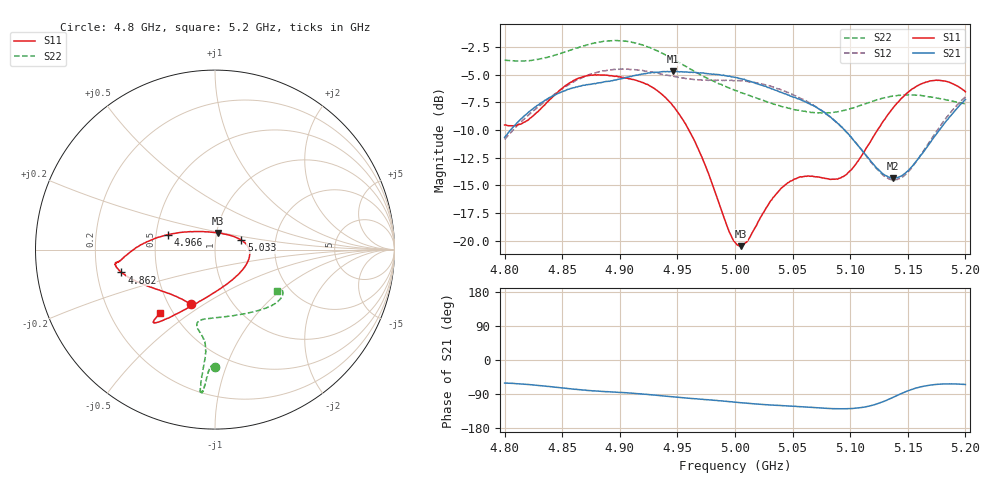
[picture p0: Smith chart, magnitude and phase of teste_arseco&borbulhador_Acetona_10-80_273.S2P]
! Network Analyzer HP8722D
! Hewlett-Packard
! Data name: Linha & Wilkinson
! Saver's name: Rodrigo Anjos
! Comments: Teste da utilização de aquisição
! continua pelo VNA HP8722D
! Time and date: 17/4/2025 16:38
!  Frequency  S11  S21  S12  S22
# HZ  S  MA R 50
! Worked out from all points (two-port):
!   401 points, 4.8 GHz to 5.2 GHz, reference 50 ohm
!   highest |S21| = -4.69 dB at 4.946 GHz (marker M1); lowest = -14.4 dB at 5.137 GHz (marker M2)
!   |S21| within 3 dB of the highest: 4.83 GHz to 5.066 GHz (235.8 MHz wide, 4.77 % of centre); 5.195739 GHz to end of sweep
!   lowest |S11| = -20.5 dB at 5.005 GHz (marker M3), VSWR 1.21, Z = 50.6 + j9.52 ohm
!   |S11| at or under -10 dB: 4.96 GHz to 5.124 GHz (163.7 MHz wide, 3.25 % of centre)
!   |S22| runs from -8.5 to -1.9 dB; largest |S21 - S12| = 0.87
!   S11 on the Smith chart (normalised r, x): 4.8 GHz: 0.64, -0.44; 4.862 GHz: 0.31, -0.11; 4.966 GHz: 0.58, +0.10; 5.033 GHz: 1.34, +0.15; 5.2 GHz: 0.42, -0.39
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4.8e9  0.3335 -113.8  0.2933 -60.8  0.2868 -175.1  0.6563 -90.2
4.819e9  0.3478 -133.9  0.3732 -64.3  0.3629 -173.8  0.6512 -91.8
4.862e9  0.5365 -166.3  0.4955 -77.3  0.5317 -177.2  0.7428 -94.0
4.867e9  0.549 -168.2  0.5018 -79.0  0.5439 -178.2  0.7557 -94.3
4.9e9  0.5503 -172.6  0.5387 -85.4  0.5957 175.3  0.8017 -95.6
4.934e9  0.4708 -178.5  0.578 -93.7  0.5706 171.5  0.7143 -95.9
4.946e9  0.4075 175.9  0.583 -97.1  0.5536 171.8  0.6637 -95.7
4.966e9  0.2746 162.3  0.5755 -102.2  0.5346 173.6  0.5777 -95.1
5e9  0.09829 99.0  0.5471 -111.3  0.5307 176.0  0.4777 -99.3
5.005e9  0.09437 81.1  0.5401 -112.6  0.5282 176.0  0.4668 -100.5
5.012e9  0.1018 58.0  0.5269 -114.4  0.522 175.8  0.4546 -101.9
5.033e9  0.1566 19.9  0.4841 -119.2  0.4951 174.5  0.4148 -103.5
5.05e9  0.1874 2.7  0.4466 -122.2  0.4574 173.9  0.3938 -99.2
5.067e9  0.1958 -15.7  0.4105 -125.3  0.414 173.5  0.3801 -90.2
5.096e9  0.1982 -66.2  0.3126 -128.7  0.3124 174.6  0.3898 -67.7
5.123e9  0.3124 -108.3  0.2128 -116.1  0.2115 -170.6  0.4334 -48.5
5.134e9  0.3786 -117.3  0.1932 -103.0  0.1896 -155.9  0.4475 -43.0
5.137e9  0.3967 -119.0  0.1914 -98.8  0.1887 -151.2  0.4507 -41.7
5.15e9  0.4675 -124.9  0.2064 -81.6  0.2037 -131.3  0.4559 -36.8
5.168e9  0.525 -129.1  0.2709 -67.1  0.2752 -113.3  0.447 -32.4
5.184e9  0.5237 -130.6  0.3511 -63.1  0.3629 -107.4  0.4325 -31.2
5.2e9  0.4711 -130.9  0.4346 -64.6  0.4469 -106.8  0.4156 -33.6
